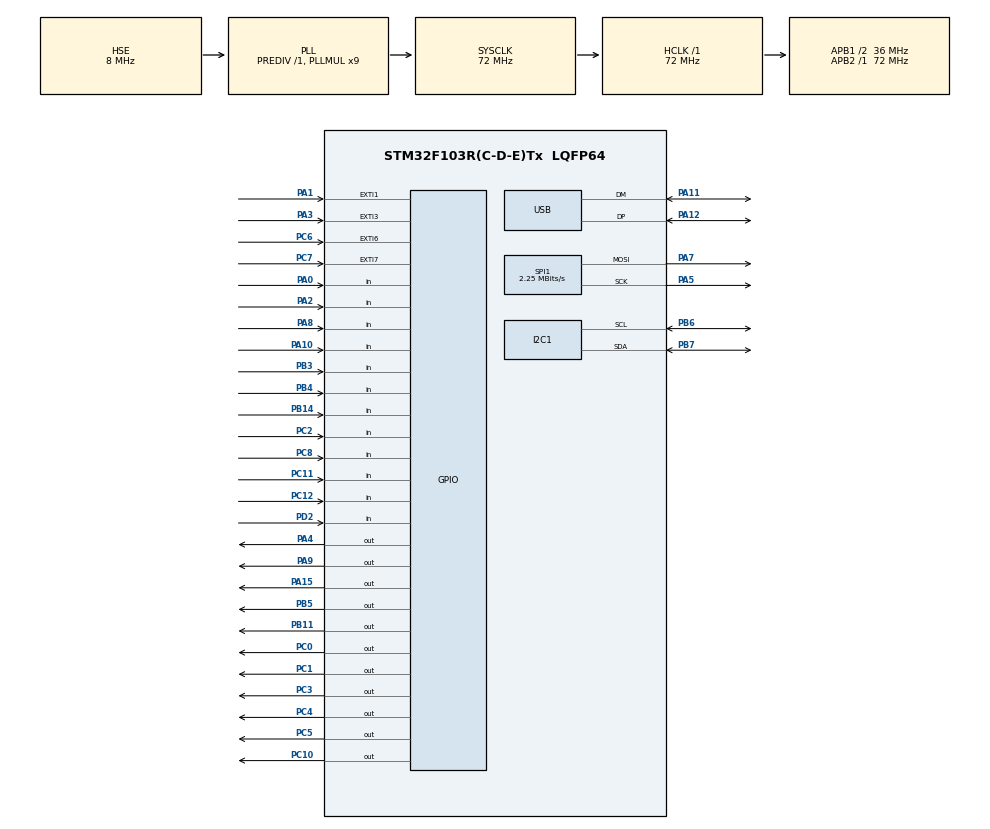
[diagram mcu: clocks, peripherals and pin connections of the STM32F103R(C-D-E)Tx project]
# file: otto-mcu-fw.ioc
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Dma.Request0=SPI1_TX
Dma.SPI1_TX.0.Direction=DMA_MEMORY_TO_PERIPH
Dma.SPI1_TX.0.Instance=DMA1_Channel3
Dma.SPI1_TX.0.MemDataAlignment=DMA_MDATAALIGN_BYTE
Dma.SPI1_TX.0.MemInc=DMA_MINC_ENABLE
Dma.SPI1_TX.0.Mode=DMA_NORMAL
Dma.SPI1_TX.0.PeriphDataAlignment=DMA_PDATAALIGN_BYTE
Dma.SPI1_TX.0.PeriphInc=DMA_PINC_DISABLE
Dma.SPI1_TX.0.Priority=DMA_PRIORITY_LOW
I2C1.I2C_Mode=I2C_Standard
I2C1.OwnAddress=0x77
Mcu.Family=STM32F1
Mcu.Name=STM32F103R(C-D-E)Tx
Mcu.Package=LQFP64
NVIC.DMA1_Channel3_IRQn=true\:0\:0\:true\:false\:true\:false\:true
NVIC.EXTI1_IRQn=true\:0\:0\:true\:false\:true\:true\:true
NVIC.EXTI3_IRQn=true\:0\:0\:true\:false\:true\:true\:true
NVIC.EXTI9_5_IRQn=true\:0\:0\:true\:false\:true\:true\:true
NVIC.I2C1_ER_IRQn=true\:0\:0\:true\:false\:true\:true\:true
NVIC.I2C1_EV_IRQn=true\:0\:0\:true\:false\:true\:true\:true
NVIC.PriorityGroup=NVIC_PRIORITYGROUP_4
NVIC.USB_LP_CAN1_RX0_IRQn=true\:0\:0\:false\:false\:true\:false\:true
PA0-WKUP.Signal=GPIO_Input
PA1.GPIO_ModeDefaultEXTI=GPIO_MODE_IT_FALLING
PA1.GPIO_PuPd=GPIO_PULLUP
PA1.Signal=GPXTI1
PA10.GPIO_Mode=GPIO_MODE_INPUT
PA10.GPIO_PuPd=GPIO_PULLDOWN
PA10.Signal=GPIO_Input
PA11.Mode=Device
PA11.Signal=USB_DM
PA12.Mode=Device
PA12.Signal=USB_DP
PA13.Mode=Serial_Wire
PA13.Signal=SYS_JTMS-SWDIO
PA14.Mode=Serial_Wire
PA14.Signal=SYS_JTCK-SWCLK
PA15.GPIO_Speed=GPIO_SPEED_FREQ_HIGH
PA15.Signal=GPIO_Output
PA2.Signal=GPIO_Input
PA3.GPIO_ModeDefaultEXTI=GPIO_MODE_IT_FALLING
PA3.GPIO_PuPd=GPIO_PULLUP
PA3.Signal=GPXTI3
PA4.GPIO_Speed=GPIO_SPEED_FREQ_HIGH
PA4.PinState=GPIO_PIN_SET
PA4.Signal=GPIO_Output
PA5.GPIO_Mode=GPIO_MODE_AF_PP
PA5.Mode=TX_Only_Simplex_Unidirect_Master
PA5.Signal=SPI1_SCK
PA7.GPIO_Mode=GPIO_MODE_AF_PP
PA7.GPIO_Speed=GPIO_SPEED_FREQ_HIGH
PA7.Mode=TX_Only_Simplex_Unidirect_Master
PA7.Signal=SPI1_MOSI
PA8.GPIO_Mode=GPIO_MODE_INPUT
PA8.GPIO_PuPd=GPIO_PULLDOWN
PA8.Signal=GPIO_Input
PA9.GPIO_Speed=GPIO_SPEED_FREQ_HIGH
PA9.Signal=GPIO_Output
PB11.GPIO_ModeDefaultOutputPP=GPIO_MODE_OUTPUT_PP
PB11.GPIO_Speed=GPIO_SPEED_FREQ_HIGH
PB11.PinState=GPIO_PIN_RESET
PB11.Signal=GPIO_Output
PB14.Signal=GPIO_Input
PB3.GPIO_Mode=GPIO_MODE_INPUT
PB3.GPIO_PuPd=GPIO_PULLDOWN
PB3.Signal=GPIO_Input
PB4.GPIO_Mode=GPIO_MODE_INPUT
PB4.GPIO_PuPd=GPIO_PULLDOWN
PB4.Signal=GPIO_Input
PB5.GPIO_Speed=GPIO_SPEED_FREQ_HIGH
PB5.Signal=GPIO_Output
PB6.Mode=I2C
PB6.Signal=I2C1_SCL
PB7.Mode=I2C
PB7.Signal=I2C1_SDA
PC0.GPIO_Speed=GPIO_SPEED_FREQ_HIGH
PC0.Signal=GPIO_Output
PC1.GPIO_Speed=GPIO_SPEED_FREQ_HIGH
PC1.Signal=GPIO_Output
PC10.GPIO_Speed=GPIO_SPEED_FREQ_HIGH
PC10.Signal=GPIO_Output
PC11.GPIO_Mode=GPIO_MODE_INPUT
PC11.GPIO_PuPd=GPIO_PULLDOWN
PC11.Signal=GPIO_Input
PC12.GPIO_Mode=GPIO_MODE_INPUT
PC12.GPIO_PuPd=GPIO_PULLDOWN
PC12.Signal=GPIO_Input
PC14-OSC32_IN.Mode=LSE-External-Oscillator
PC14-OSC32_IN.Signal=RCC_OSC32_IN
PC15-OSC32_OUT.Mode=LSE-External-Oscillator
PC15-OSC32_OUT.Signal=RCC_OSC32_OUT
PC2.GPIO_Mode=GPIO_MODE_INPUT
PC2.GPIO_PuPd=GPIO_PULLDOWN
PC2.Signal=GPIO_Input
PC3.GPIO_Speed=GPIO_SPEED_FREQ_HIGH
PC3.Signal=GPIO_Output
PC4.GPIO_Speed=GPIO_SPEED_FREQ_HIGH
PC4.PinState=GPIO_PIN_SET
PC4.Signal=GPIO_Output
PC5.GPIO_Speed=GPIO_SPEED_FREQ_HIGH
PC5.PinState=GPIO_PIN_SET
PC5.Signal=GPIO_Output
PC6.GPIO_ModeDefaultEXTI=GPIO_MODE_IT_FALLING
PC6.GPIO_PuPd=GPIO_PULLUP
PC6.Signal=GPXTI6
PC7.GPIO_ModeDefaultEXTI=GPIO_MODE_IT_FALLING
PC7.GPIO_PuPd=GPIO_PULLUP
PC7.Signal=GPXTI7
PC8.Signal=GPIO_Input
PD0-OSC_IN.Mode=HSE-External-Oscillator
PD0-OSC_IN.Signal=RCC_OSC_IN
PD1-OSC_OUT.Mode=HSE-External-Oscillator
PD1-OSC_OUT.Signal=RCC_OSC_OUT
PD2.GPIO_Mode=GPIO_MODE_INPUT
PD2.GPIO_PuPd=GPIO_PULLDOWN
PD2.Signal=GPIO_Input
ProjectManager.HeapSize=0x200
ProjectManager.StackSize=0x400
ProjectManager.TargetToolchain=Makefile
RCC.AHBFreq_Value=72000000
RCC.APB1CLKDivider=RCC_HCLK_DIV2
RCC.APB1Freq_Value=36000000
RCC.APB1TimFreq_Value=72000000
RCC.APB2Freq_Value=72000000
RCC.APB2TimFreq_Value=72000000
RCC.HCLKFreq_Value=72000000
RCC.PLLMUL=RCC_PLL_MUL9
RCC.SYSCLKFreq_VALUE=72000000
RCC.SYSCLKSource=RCC_SYSCLKSOURCE_PLLCLK
RCC.USBFreq_Value=48000000
RCC.USBPrescaler=RCC_USBCLKSOURCE_PLL_DIV1_5
SPI1.BaudRatePrescaler=SPI_BAUDRATEPRESCALER_32
SPI1.CalculateBaudRate=2.25 MBits/s
SPI1.Direction=SPI_DIRECTION_2LINES
SPI1.Mode=SPI_MODE_MASTER
SPI1.VirtualType=VM_MASTER
USB_DEVICE.CLASS_NAME_FS=CDC
USB_DEVICE.MANUFACTURER_STRING=OTTO
USB_DEVICE.PID_CDC_FS=1
USB_DEVICE.PRODUCT_STRING_CDC_FS=TOOT v1
USB_DEVICE.VID=7007
USB_DEVICE.VirtualMode=Cdc
USB_DEVICE.VirtualModeFS=Cdc_FS
VP_USB_DEVICE_VS_USB_DEVICE_CDC_FS.Mode=CDC_FS
board=custom

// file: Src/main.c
/* USER CODE BEGIN Header */
/**
 ******************************************************************************
 * @file           : main.c
 * @brief          : Main program body
 ******************************************************************************
 * @attention
 *
 * <h2><center>&copy; Copyright (c) 2019 STMicroelectronics.
 * All rights reserved.</center></h2>
 *
 * This software component is licensed by ST under Ultimate Liberty license
 * SLA0044, the "License"; You may not use this file except in compliance with
 * the License. You may obtain a copy of the License at:
 *                             www.st.com/SLA0044
 *
 ******************************************************************************
 */
/* USER CODE END Header */

#include "main.h"
#include "dma.h"
#include "gpio.h"
#include "i2c.h"
#include "spi.h"
#include "usb_device.h"

/* USER CODE BEGIN Includes */
#include "commands.h"
#include "encoders.h"
#include "keys.h"
#include "ws2812b.h"
/* USER CODE END Includes */

/* USER CODE BEGIN PTD */
typedef SLAVE_STATE I2C_SLAVE_STATE;
typedef SLAVE_COMMAND I2C_SLAVE_COMMAND;

/* USER CODE END PTD */

/* USER CODE BEGIN PV */
static SlaveState slave_state = {
  .state = WAITING_FOR_MASTER,
  .tx_buffer = {.data = {0}, .size = 0},
};
static XferBuffer rx_buffer = {.data = {0}, .size = 0};
/* USER CODE END PV */

void SystemClock_Config(void);
/* USER CODE BEGIN 0 */
void HAL_I2C_SlaveRxCpltCallback(I2C_HandleTypeDef* hi2c)
{
  if (slave_state.state == WAITING_FOR_MASTER) {
    uint8_t req_len = handleSlaveCommand(&slave_state, rx_buffer.data[0]);
    if (hi2c->XferSize > 1) {
      handleSlaveCommandArgs(&slave_state, (ByteSpan){rx_buffer.data + 1, hi2c->XferSize - 1});
      return;
    }
    if (req_len != 0) {
      rx_buffer.size = req_len;
      if (HAL_I2C_Slave_Seq_Receive_IT(&hi2c1, rx_buffer.data, req_len, I2C_LAST_FRAME) != HAL_OK) {
        /* Transfer error in reception process */
        HAL_GPIO_TogglePin(GPIO_LED_PIN.port, GPIO_LED_PIN.pin);
        Error_Handler();
      }
    }
  } else if (slave_state.state == COMMAND) {
    handleSlaveCommandArgs(&slave_state, (ByteSpan){rx_buffer.data, rx_buffer.size});
  }
}
void HAL_I2C_SlaveTxCpltCallback(I2C_HandleTypeDef* hi2c)
{
  slave_state.state = WAITING_FOR_MASTER;
  rx_buffer.size = 0;
  slave_state.tx_buffer.size = 0;
}
void HAL_I2C_AddrCallback(I2C_HandleTypeDef* hi2c, uint8_t TransferDirection, uint16_t AddrMatchCode)
{
  if (AddrMatchCode == OTTO_I2C_ADDRESS) {
    if (TransferDirection == I2C_DIRECTION_TRANSMIT && slave_state.state == WAITING_FOR_MASTER) {
      rx_buffer.size = 1;
      if (HAL_I2C_Slave_Seq_Receive_IT(&hi2c1, rx_buffer.data, rx_buffer.size, I2C_FIRST_FRAME) != HAL_OK) {
        Error_Handler();
      }
      //} else if (TransferDirection == I2C_DIRECTION_RECEIVE) {
      //  if (HAL_I2C_Slave_Seq_Transmit_IT(&hi2c1, slave_state.tx_buffer.data, slave_state.tx_buffer.size,
      //  I2C_FIRST_FRAME) != HAL_OK) {
      //    Error_Handler();
      //  }
    }
  }
}
void HAL_SPI_TxCpltCallback(SPI_HandleTypeDef* hspi)
{
  // Disable all buffers after SPI write
  HAL_GPIO_WritePin(GPIO_SPI_CS_MCU_LED_DRUM.port, GPIO_SPI_CS_MCU_LED_DRUM.pin, 1);
  HAL_GPIO_WritePin(GPIO_SPI_CS_MCU_LED_FUNC.port, GPIO_SPI_CS_MCU_LED_FUNC.pin, 1);
  HAL_GPIO_WritePin(GPIO_SPI_CS_MCU_LED_SEQ.port, GPIO_SPI_CS_MCU_LED_SEQ.pin, 1);
}
/* USER CODE END 0 */

int main(void)
{
  /* USER CODE BEGIN 1 */
  uint8_t i;
  /* USER CODE END 1 */

  /* MCU Configuration--------------------------------------------------------*/

  /* Reset of all peripherals, Initializes the Flash interface and the Systick. */
  HAL_Init();

  /* Configure the system clock */
  SystemClock_Config();

  /* Initialize all configured peripherals */
  MX_GPIO_Init();
  MX_DMA_Init();
  MX_I2C1_Init();
  MX_SPI1_Init();
  MX_USB_DEVICE_Init();
  /* USER CODE BEGIN 2 */
  HAL_Delay(400); // Delay some milliseconds for LEDs to power on

  initWS2812B(&gLED_DRUM_STRING, &hspi1, GPIO_SPI_CS_MCU_LED_DRUM, 10);
  initWS2812B(&gLED_SEQ_STRING, &hspi1, GPIO_SPI_CS_MCU_LED_SEQ, 16);
  initWS2812B(&gLED_FUNC_STRING, &hspi1, GPIO_SPI_CS_MCU_LED_FUNC, 21);
  for (i = 0; i < NUM_LED_STRINGS; i++) {
    clearPixels(gLED_STRINGS[i]);
    showPixels(gLED_STRINGS[i]);
  }
  initEncoder(&gEncoders[0], GPIO_ENC_A_1, GPIO_ENC_B_1);
  initEncoder(&gEncoders[1], GPIO_ENC_A_2, GPIO_ENC_B_2);
  initEncoder(&gEncoders[2], GPIO_ENC_A_3, GPIO_ENC_B_3);
  initEncoder(&gEncoders[3], GPIO_ENC_A_4, GPIO_ENC_B_4);
  /* USER CODE END 2 */

  /* Infinite loop */
  /* USER CODE BEGIN WHILE */
  while (1) {
    if (HAL_I2C_GetState(&hi2c1) == HAL_I2C_STATE_LISTEN && slave_state.state == READY_TO_RESPOND) {
      if (HAL_I2C_DisableListen_IT(&hi2c1) != HAL_OK) {
        /* Transfer error in reception process */
        HAL_GPIO_TogglePin(GPIO_LED_PIN.port, GPIO_LED_PIN.pin);
        Error_Handler();
      }
    }
    if (HAL_I2C_GetState(&hi2c1) == HAL_I2C_STATE_READY) {
      switch (slave_state.state) {
        case COMMAND:
        case WAITING_FOR_MASTER:
          // case READY_TO_RESPOND:
          if (HAL_I2C_EnableListen_IT(&hi2c1) != HAL_OK) {
            /* Transfer error in reception process */
            HAL_GPIO_TogglePin(GPIO_LED_PIN.port, GPIO_LED_PIN.pin);
            Error_Handler();
          }
          break;
        case READY_TO_RESPOND:
          if (HAL_I2C_Slave_Transmit_IT(&hi2c1, slave_state.tx_buffer.data, slave_state.tx_buffer.size) != HAL_OK) {
            /* Transfer error in transmission process */
            HAL_GPIO_TogglePin(GPIO_LED_PIN.port, GPIO_LED_PIN.pin);
            Error_Handler();
          }
          break;
        default: break;
      }
    }

    else if (HAL_I2C_GetState(&hi2c1) == HAL_I2C_STATE_ERROR) {
      switch (HAL_I2C_GetError(&hi2c1)) {
        case HAL_I2C_ERROR_AF: __HAL_I2C_CLEAR_FLAG(&hi2c1, I2C_FLAG_AF); break;
        default: break;
      }
    }

    showPixels(&gLED_FUNC_STRING);
    showPixels(&gLED_DRUM_STRING);
    showPixels(&gLED_SEQ_STRING);

    /* USER CODE END WHILE */

  }
}

void SystemClock_Config(void)
{
  RCC_OscInitTypeDef RCC_OscInitStruct = {0};
  RCC_ClkInitTypeDef RCC_ClkInitStruct = {0};
  RCC_PeriphCLKInitTypeDef PeriphClkInit = {0};

  /** Initializes the CPU, AHB and APB busses clocks
   */
  RCC_OscInitStruct.OscillatorType = RCC_OSCILLATORTYPE_HSE;
  RCC_OscInitStruct.HSEState = RCC_HSE_ON;
  RCC_OscInitStruct.HSEPredivValue = RCC_HSE_PREDIV_DIV1;
  RCC_OscInitStruct.HSIState = RCC_HSI_ON;
  RCC_OscInitStruct.PLL.PLLState = RCC_PLL_ON;
  RCC_OscInitStruct.PLL.PLLSource = RCC_PLLSOURCE_HSE;
  RCC_OscInitStruct.PLL.PLLMUL = RCC_PLL_MUL9;
  if (HAL_RCC_OscConfig(&RCC_OscInitStruct) != HAL_OK) {
    Error_Handler();
  }
  /** Initializes the CPU, AHB and APB busses clocks
   */
  RCC_ClkInitStruct.ClockType = RCC_CLOCKTYPE_HCLK | RCC_CLOCKTYPE_SYSCLK | RCC_CLOCKTYPE_PCLK1 | RCC_CLOCKTYPE_PCLK2;
  RCC_ClkInitStruct.SYSCLKSource = RCC_SYSCLKSOURCE_PLLCLK;
  RCC_ClkInitStruct.AHBCLKDivider = RCC_SYSCLK_DIV1;
  RCC_ClkInitStruct.APB1CLKDivider = RCC_HCLK_DIV2;
  RCC_ClkInitStruct.APB2CLKDivider = RCC_HCLK_DIV1;

  if (HAL_RCC_ClockConfig(&RCC_ClkInitStruct, FLASH_LATENCY_2) != HAL_OK) {
    Error_Handler();
  }
  PeriphClkInit.PeriphClockSelection = RCC_PERIPHCLK_USB;
  PeriphClkInit.UsbClockSelection = RCC_USBCLKSOURCE_PLL_DIV1_5;
  if (HAL_RCCEx_PeriphCLKConfig(&PeriphClkInit) != HAL_OK) {
    Error_Handler();
  }
}

void Error_Handler(void)
{
}

#ifdef USE_FULL_ASSERT
/**
 * @brief  Reports the name of the source file and the source line number
 *         where the assert_param error has occurred.
 * @param  file: pointer to the source file name
 * @param  line: assert_param error line source number
 * @retval None
 */
void assert_failed(uint8_t* file, uint32_t line)
{
  /* USER CODE BEGIN 6 */
  /* User can add his own implementation to report the file name and line number */
  abort();
  // printf("Wrong parameters value: file %s on line %d\r\n", file, line);
  /* USER CODE END 6 */
}
#endif /* USE_FULL_ASSERT */

/************************ (C) COPYRIGHT STMicroelectronics *****END OF FILE****/
